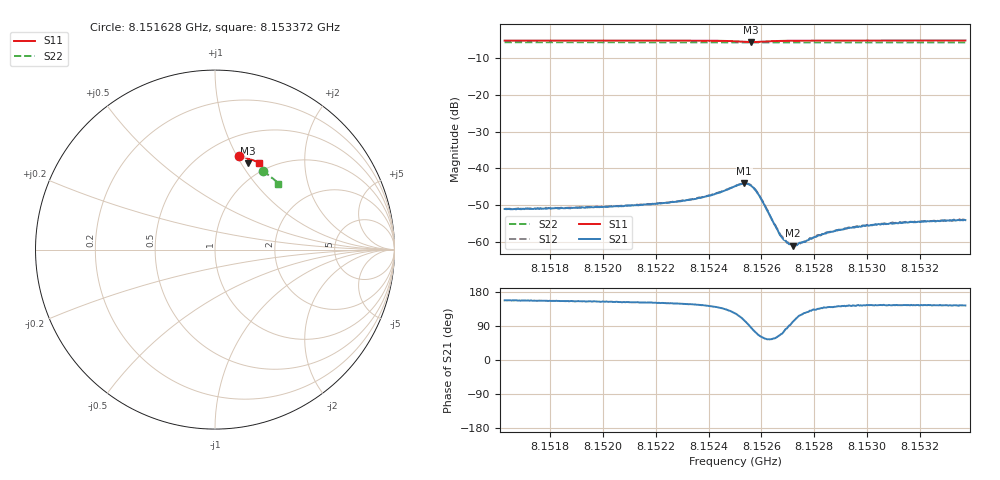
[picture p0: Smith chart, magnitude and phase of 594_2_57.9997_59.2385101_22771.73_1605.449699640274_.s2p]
#  HZ  S  RI  R  50.00
! Rohde & Schwarz Vector Network Analyzer
! Rohde-Schwarz,ZNB20-2Port,1311601062101988,3.16
! Created: UTC 3/21/2024, 1:16:57 AM
! freq[Hz]  re:S11  im:S11  re:S21  im:S21  re:S12  im:S12  re:S22  im:S22
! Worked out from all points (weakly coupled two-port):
!   401 points, 8.151628 GHz to 8.153372 GHz, reference 50 ohm
!   highest |S21| = -44.06 dB at 8.152535 GHz (marker M1); lowest = -61.0 dB at 8.152718 GHz (marker M2)
!   lowest |S11| = -5.8 dB at 8.152561 GHz (marker M3), VSWR 3.13, Z = 41 + j53.7 ohm
!   |S11| at or under -10 dB: nowhere
!   |S22| runs from -5.8 to -5.8 dB; largest |S21 - S12| = 0.00013
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8.151628e9  0.1326 0.5235  -0.0026 0.00108  -0.00258 0.00114  0.267 0.4372
8.1519201e9  0.1528 0.5183  -0.00269 0.00127  -0.00266 0.0013  0.2828 0.4268
8.1520988e9  0.1658 0.5144  -0.0028 0.00144  -0.00277 0.00149  0.2923 0.42
8.1522122e9  0.1741 0.5115  -0.00294 0.00163  -0.00294 0.00169  0.2979 0.4157
8.1522994e9  0.1809 0.5088  -0.00308 0.00189  -0.00311 0.00196  0.3025 0.4125
8.1523779e9  0.1876 0.5054  -0.00333 0.00234  -0.00332 0.00241  0.3065 0.4092
8.152452e9  0.1944 0.4992  -0.00353 0.00336  -0.00349 0.00344  0.3102 0.4062
8.1524999e9  0.1972 0.4911  -0.00313 0.00481  -0.00311 0.00486  0.3123 0.404
8.1525348e9  0.1934 0.4828  -0.00163 0.00605  -0.00158 0.00609  0.3138 0.4023
8.152561e9  0.185 0.4812  0.000462 0.00581  0.000514 0.00587  0.3146 0.4016
8.1525784e9  0.1801 0.4848  0.00152 0.00479  0.00158 0.00483  0.3155 0.4009
8.1525959e9  0.1784 0.4899  0.00186 0.00357  0.00191 0.00359  0.3163 0.4006
8.1526395e9  0.1829 0.4988  0.00116 0.00166  0.00116 0.00167  0.3186 0.3991
8.1526743e9  0.1879 0.5013  0.000446 0.00111  0.000473 0.00112  0.3206 0.3978
8.1527005e9  0.1913 0.5018  4.35e-05 0.000972  7.68e-05 0.00099  0.3219 0.3969
8.1527179e9  0.1935 0.5018  -0.000161 0.000881  -0.000142 0.000927  0.3227 0.396
8.1527397e9  0.1959 0.5017  -0.000408 0.000862  -0.000375 0.00087  0.3238 0.3951
8.152792e9  0.201 0.5009  -0.000752 0.000839  -0.000733 0.000869  0.3265 0.3929
8.1528531e9  0.2064 0.4998  -0.00105 0.000891  -0.00103 0.000881  0.3294 0.3904
8.1529359e9  0.2127 0.4977  -0.00126 0.000936  -0.00128 0.000956  0.3333 0.3868
8.1530841e9  0.2234 0.4935  -0.00148 0.00103  -0.00146 0.00105  0.3402 0.3804
8.1533719e9  0.2424 0.4852  -0.00161 0.00117  -0.00161 0.00121  0.3535 0.3679
